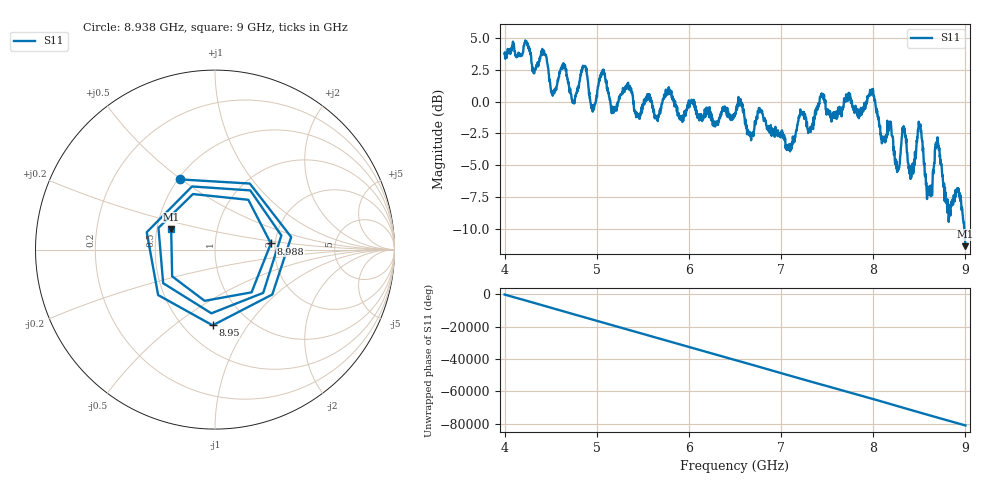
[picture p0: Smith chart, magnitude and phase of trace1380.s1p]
! Created with skrf 1.8.0 (http://scikit-rf.org).
# Hz S RI R 50.0
!freq ReS11 ImS11
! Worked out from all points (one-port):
!   1601 points, 4 GHz to 9 GHz, reference 50 ohm
!   lowest |S11| = -11.4 dB at 9 GHz (marker M1), VSWR 1.74, Z = 29.7 + j7.34 ohm
!   |S11| at or under -10 dB: 8.987406 GHz to end of sweep
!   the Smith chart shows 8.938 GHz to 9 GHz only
!   S11 on the Smith chart (normalised r, x): 8.938 GHz: 0.51, +0.49; 8.95 GHz: 0.68, -0.70; 8.988 GHz: 1.90, +0.14; 9 GHz: 0.59, +0.15
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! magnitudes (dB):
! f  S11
! 4 GHz  3.8
! 4.425 GHz  4.0
! 4.528 GHz  0.7
! 4.625 GHz  2.8
! 4.744 GHz  -0.1
! 4.862 GHz  2.8
! 4.953 GHz  -0.5
! 5.062 GHz  2.4
! 5.175 GHz  -0.9
! 5.25 GHz  0.3
! 5.875 GHz  -0.8
! 6.5 GHz  -0.9
! 7.125 GHz  -3.2
! 7.444 GHz  0.4
! 7.75 GHz  0.4
! 7.988 GHz  1.0
! 8.259 GHz  -5.5
! 8.328 GHz  -2.0
! 8.375 GHz  -4.8
! 8.425 GHz  -5.4
! 8.503 GHz  -1.8
! 8.6 GHz  -6.9
! 8.694 GHz  -3.5
! 8.812 GHz  -8.3
! 8.938 GHz  -7.2
! 8.95 GHz  -7.5
! 8.988 GHz  -10.1
! 9 GHz  -11.4
